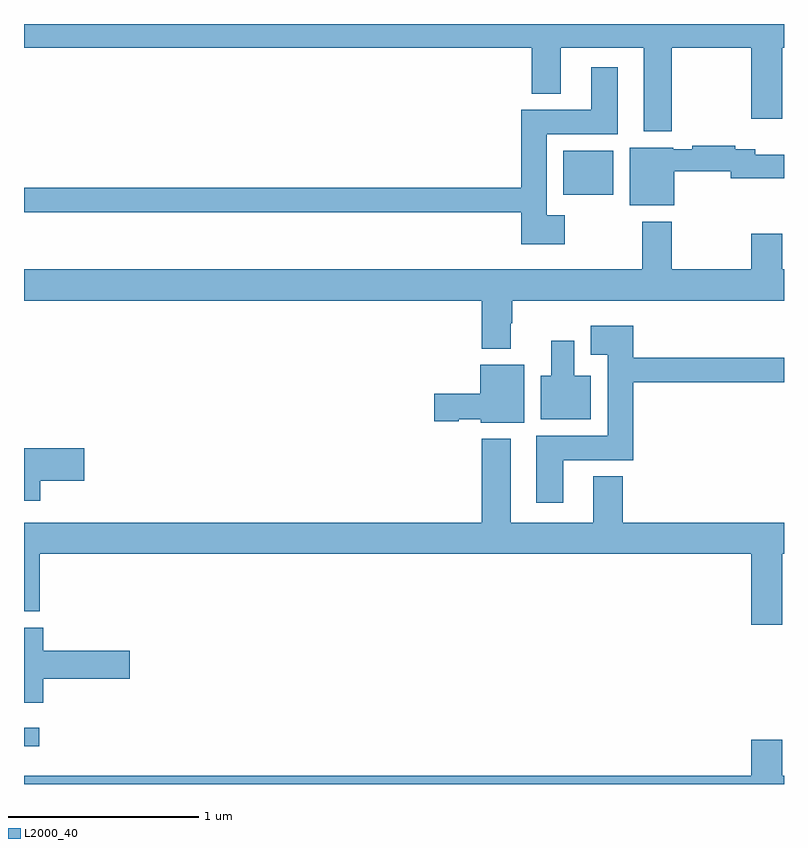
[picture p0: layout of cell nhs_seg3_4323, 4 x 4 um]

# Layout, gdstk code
import gdstk
lib = gdstk.Library(unit=1e-6, precision=1e-09)
def R(c, l, rs):  # rectangles x0, y0, x1, y1
    for r in rs: c.add(gdstk.rectangle(r[:2], r[2:], *l))
def P(c, l, *ps):  # polygons
    for p in ps: c.add(gdstk.Polygon(p, *l))
L2000_40 = (2000, 40)

nhs_seg3_4323 = lib.new_cell('nhs_seg3_4323')
R(nhs_seg3_4323, L2000_40, [(341,670.598,341.08,670.696), (343.838,673.502,344.101,673.732)])
P(nhs_seg3_4323, L2000_40, [(344.409,674.276),(344.828,674.276),(344.828,673.902),(344.992,673.902),(344.992,674.276),(345,674.276),(345,674.4),(341,674.4),(341,674.276),(343.673,674.276),(343.673,674.033),(343.825,674.033),(343.825,674.276),(344.261,674.276),(344.261,673.835),(344.409,673.835)],
  [(343.846,673.393),(343.75,673.393),(343.75,673.82),(344.125,673.82),(344.125,674.173),(343.985,674.173),(343.985,673.948),(343.616,673.948),(343.616,673.538),(341,673.538),(341,673.41),(343.616,673.41),(343.616,673.241),(343.846,673.241)],
  [(344.422,673.624),(344.72,673.624),(344.72,673.589),(345,673.589),(345,673.711),(344.848,673.711),(344.848,673.74),(344.744,673.74),(344.744,673.76),(344.518,673.76),(344.518,673.74),(344.418,673.74),(344.418,673.75),(344.189,673.75),(344.189,673.445),(344.422,673.445)],
  [(343.561,672.824),(343.569,672.824),(343.569,672.944),(345,672.944),(345,673.108),(344.992,673.108),(344.992,673.297),(344.828,673.297),(344.828,673.108),(344.409,673.108),(344.409,673.36),(344.254,673.36),(344.254,673.108),(341,673.108),(341,672.944),(343.409,672.944),(343.409,672.692),(343.561,672.692)],
  [(343.837,672.104),(344.207,672.104),(344.207,672.514),(345,672.514),(345,672.643),(344.207,672.643),(344.207,672.811),(343.982,672.811),(343.982,672.659),(344.072,672.659),(344.072,672.232),(343.697,672.232),(343.697,671.88),(343.837,671.88)],
  [(343.984,672.55),(343.897,672.55),(343.897,672.733),(343.775,672.733),(343.775,672.55),(343.721,672.55),(343.721,672.32),(343.984,672.32)],
  [(343.633,672.607),(343.4,672.607),(343.4,672.455),(343.158,672.455),(343.158,672.308),(343.287,672.308),(343.287,672.32),(343.404,672.32),(343.404,672.302),(343.633,672.302)],
  [(344.992,671.612),(345,671.612),(345,671.776),(344.15,671.776),(344.15,672.019),(343.997,672.019),(343.997,671.776),(343.561,671.776),(343.561,672.217),(343.409,672.217),(343.409,671.776),(341,671.776),(341,671.308),(341.084,671.308),(341.084,671.612),(344.828,671.612),(344.828,671.238),(344.992,671.238)],
  [(341.086,671.996),(341.317,671.996),(341.317,672.167),(341,672.167),(341,671.891),(341.086,671.891)],
  [(341.102,670.955),(341.557,670.955),(341.557,671.102),(341.102,671.102),(341.102,671.223),(341,671.223),(341,670.827),(341.102,670.827)],
  [(345,670.444),(344.992,670.444),(344.992,670.633),(344.828,670.633),(344.828,670.444),(341,670.444),(341,670.4),(345,670.4)])

lib.write_gds('nhs_seg3_4323.gds')
